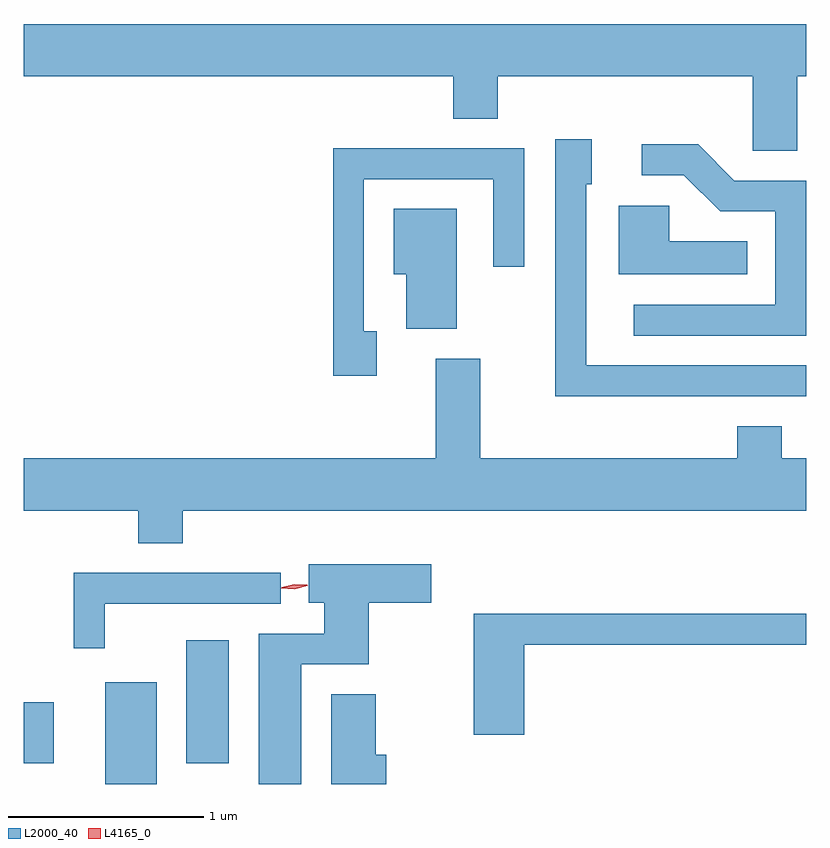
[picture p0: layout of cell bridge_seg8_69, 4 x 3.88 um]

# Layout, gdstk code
import gdstk
lib = gdstk.Library(unit=1e-6, precision=1e-09)
def R(c, l, rs):  # rectangles x0, y0, x1, y1
    for r in rs: c.add(gdstk.rectangle(r[:2], r[2:], *l))
def P(c, l, *ps):  # polygons
    for p in ps: c.add(gdstk.Polygon(p, *l))
L2000_40 = (2000, 40)
L4165_0 = (4165, 0)

bridge_seg8_69 = lib.new_cell('bridge_seg8_69')
R(bridge_seg8_69, L2000_40, [(1575.351,1823.92,1575.614,1824.439), (1574.935,1824.026,1575.089,1824.339), (1575.766,1824.026,1575.984,1824.654)])
P(bridge_seg8_69, L2000_40, [(1578.889,1827.536),(1578.935,1827.536),(1578.935,1827.804),(1574.935,1827.804),(1574.935,1827.536),(1577.131,1827.536),(1577.131,1827.321),(1577.359,1827.321),(1577.359,1827.536),(1578.661,1827.536),(1578.661,1827.156),(1578.889,1827.156)],
  [(1578.935,1826.059),(1577.809,1826.059),(1577.809,1826.986),(1577.839,1826.986),(1577.839,1827.214),(1577.651,1827.214),(1577.651,1825.901),(1578.935,1825.901)],
  [(1578.934,1827.004),(1578.567,1827.004),(1578.382,1827.189),(1578.093,1827.189),(1578.093,1827.031),(1578.309,1827.031),(1578.494,1826.846),(1578.776,1826.846),(1578.776,1826.369),(1578.053,1826.369),(1578.053,1826.211),(1578.934,1826.211)],
  [(1576.739,1826.234),(1576.674,1826.234),(1576.674,1827.011),(1577.336,1827.011),(1577.336,1826.563),(1577.494,1826.563),(1577.494,1827.169),(1576.516,1827.169),(1576.516,1826.006),(1576.739,1826.006)],
  [(1578.633,1826.694),(1578.234,1826.694),(1578.234,1826.874),(1577.976,1826.874),(1577.976,1826.526),(1578.633,1826.526)],
  [(1577.149,1826.859),(1576.826,1826.859),(1576.826,1826.526),(1576.891,1826.526),(1576.891,1826.246),(1577.149,1826.246)],
  [(1575.749,1825.316),(1578.935,1825.316),(1578.935,1825.584),(1578.809,1825.584),(1578.809,1825.749),(1578.581,1825.749),(1578.581,1825.584),(1577.269,1825.584),(1577.269,1826.094),(1577.041,1826.094),(1577.041,1825.584),(1574.935,1825.584),(1574.935,1825.316),(1575.521,1825.316),(1575.521,1825.151),(1575.749,1825.151)],
  [(1576.354,1824.531),(1576.699,1824.531),(1576.699,1824.846),(1577.019,1824.846),(1577.019,1825.044),(1576.391,1825.044),(1576.391,1824.846),(1576.471,1824.846),(1576.471,1824.689),(1576.136,1824.689),(1576.136,1823.92),(1576.354,1823.92)],
  [(1575.349,1824.841),(1576.248,1824.841),(1576.248,1824.999),(1575.191,1824.999),(1575.191,1824.613),(1575.349,1824.613)],
  [(1577.494,1824.631),(1578.935,1824.631),(1578.935,1824.789),(1577.236,1824.789),(1577.236,1824.171),(1577.494,1824.171)],
  [(1576.789,1824.069),(1576.734,1824.069),(1576.734,1824.379),(1576.506,1824.379),(1576.506,1823.92),(1576.789,1823.92)])
P(bridge_seg8_69, L4165_0, [(1576.32,1824.921),(1576.253,1824.924),(1576.253,1824.924),(1576.253,1824.925),(1576.318,1824.94),(1576.384,1824.937),(1576.384,1824.937),(1576.384,1824.936)],
  [(1576.319,1824.916),(1576.25,1824.92),(1576.25,1824.92),(1576.25,1824.921),(1576.318,1824.936),(1576.387,1824.932),(1576.387,1824.932),(1576.387,1824.932)])

lib.write_gds('bridge_seg8_69.gds')
